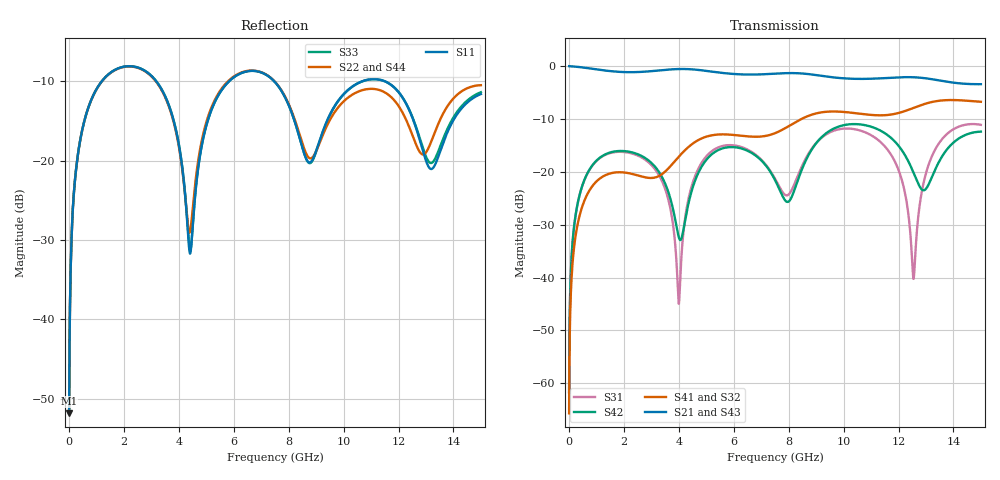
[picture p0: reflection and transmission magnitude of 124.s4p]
! Created with skrf 1.8.0 (http://scikit-rf.org).
# GHz S RI R 50.0
!freq ReS11 ImS11 ReS12 ImS12 ReS13 ImS13
! ReS14 ImS14
! ReS21 ImS21 ReS22 ImS22 ReS23 ImS23
! ReS24 ImS24
! ReS31 ImS31 ReS32 ImS32 ReS33 ImS33
! ReS34 ImS34
! ReS41 ImS41 ReS42 ImS42 ReS43 ImS43
! ReS44 ImS44
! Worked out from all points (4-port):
!   2499 points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, 5 MHz to 15 GHz, reference 50 ohm
!   strongest paths, dB at 5 MHz, 3.476 GHz, 7.19 GHz, 11.1 GHz, 15 GHz:
!     S21: 0.0, -0.7, -1.5, -2.4, -3.4
!     S43: 0.0, -0.7, -1.5, -2.4, -3.4
!     S41: -65.7, -20.1, -13.2, -9.3, -6.8
!     S32: -65.7, -20.1, -13.2, -9.2, -6.8
!     S42: -61.7, -21.9, -18.9, -11.6, -12.4
!     S31: -61.7, -22.9, -18.8, -13.4, -11.1
!   lowest |S11| = -51.8 dB at 5 MHz (marker M1), VSWR 1.01, Z = 50.2 + j0.155 ohm
!   |S11| at or under -10 dB: 3.177 GHz to 5.828 GHz (2.652 GHz wide, 58.9 % of centre); 7.471 GHz to 10.68 GHz (3.208 GHz wide, 35.3 % of centre); 11.5 GHz to end of sweep (the widest 3 of 4)
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0.005  0.00204 0.00155  0.9979 -0.00396  0.000104 0.000815  -0.000101 -0.00051
       0.9979 -0.00396  0.00204 0.00155  -0.000101 -0.00051  0.000104 0.000815
       0.000104 0.000815  -0.000101 -0.00051  0.00204 0.00155  0.9979 -0.00396
       -0.000101 -0.00051  0.000104 0.000815  0.9979 -0.00396  0.00204 0.00155
1.269279  0.2768 0.1749  0.5371 -0.7352  0.1278 0.063  -0.0912 -0.00436
          0.5371 -0.7352  0.2753 0.1759  -0.0913 -0.00432  0.1321 0.0569
          0.1278 0.063  -0.0913 -0.00432  0.2769 0.1749  0.5371 -0.7352
          -0.0912 -0.00436  0.1321 0.0569  0.5371 -0.7352  0.2754 0.1759
3.995415  0.0581 -0.1134  -0.8724 -0.3439  0.00565 0.000346  -0.0468 0.1305
          -0.8724 -0.3439  0.0651 -0.1059  -0.0462 0.1307  -0.0211 -0.012
          0.00565 0.000346  -0.0462 0.1307  0.0592 -0.1141  -0.8722 -0.344
          -0.0468 0.1305  -0.0211 -0.012  -0.8722 -0.344  0.0648 -0.1071
5.002084  0.1008 0.1329  -0.8363 0.3336  0.1 0.098  0.1044 0.188
          -0.8363 0.3336  0.1122 0.1339  0.1051 0.1875  0.0788 0.1033
          0.1 0.098  0.1051 0.1875  0.1015 0.1316  -0.8364 0.3338
          0.1044 0.188  0.0788 0.1033  -0.8364 0.3338  0.1109 0.1337
8.791163  0.0974 -0.00541  0.8245 0.1366  -0.0297 0.1557  0.0511 -0.3398
          0.8245 0.1366  0.1021 -0.0151  0.0493 -0.3403  -0.00531 0.1546
          -0.0297 0.1557  0.0493 -0.3403  0.0963 -0.0069  0.8247 0.1348
          0.0511 -0.3398  -0.00531 0.1546  0.8247 0.1348  0.1037 -0.0154
12.54898  0.1294 -0.1223  -0.5635 -0.5451  0.00908 0.00346  -0.2702 0.2982
          -0.5635 -0.5451  0.1271 -0.0547  -0.2655 0.3023  -0.0513 -0.0834
          0.00908 0.00346  -0.2655 0.3023  0.135 -0.1193  -0.5669 -0.541
          -0.2702 0.2982  -0.0513 -0.0834  -0.5669 -0.541  0.122 -0.0617
15  0.2613 0.0273  -0.4296 0.5197  0.2782 0.000988  0.4101 0.2072
    -0.4296 0.5197  0.2987 0.00253  0.4115 0.2018  0.2398 -0.0031
    0.2782 0.000988  0.4115 0.2018  0.269 0.0202  -0.4215 0.524
    0.4101 0.2072  0.2398 -0.0031  -0.4215 0.524  0.3003 0.00754
